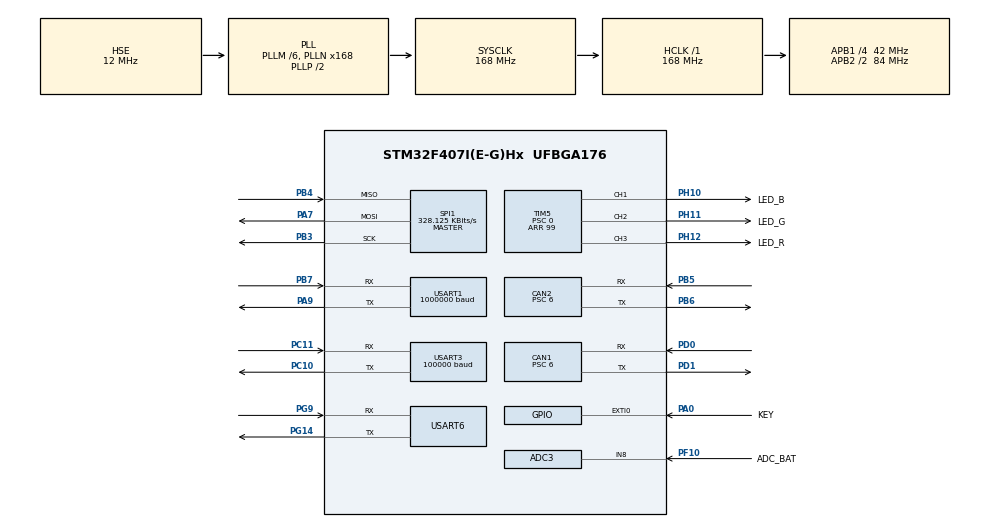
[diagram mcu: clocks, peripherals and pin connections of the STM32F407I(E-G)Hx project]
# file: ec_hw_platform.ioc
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ADC3.Channel-1\#ChannelRegularConversion=ADC_CHANNEL_8
ADC3.ExternalTrigConv=ADC_EXTERNALTRIGCONV_T3_TRGO
ADC3.NbrOfConversion=1
ADC3.NbrOfConversionFlag=1
ADC3.Rank-1\#ChannelRegularConversion=1
ADC3.SamplingTime-1\#ChannelRegularConversion=ADC_SAMPLETIME_28CYCLES
CAN1.ABOM=ENABLE
CAN1.BS1=CAN_BS1_5TQ
CAN1.CalculateBaudRate=1000000
CAN1.CalculateTimeBit=1000
CAN1.CalculateTimeQuantum=142.85714285714286
CAN1.Prescaler=6
CAN2.ABOM=ENABLE
CAN2.BS1=CAN_BS1_5TQ
CAN2.CalculateBaudRate=1000000
CAN2.CalculateTimeBit=1000
CAN2.CalculateTimeQuantum=142.85714285714286
CAN2.Prescaler=6
Dma.Request0=USART1_RX
Dma.Request1=USART1_TX
Dma.Request2=USART6_RX
Dma.Request3=USART6_TX
Dma.Request4=USART3_RX
Dma.USART1_RX.0.Direction=DMA_PERIPH_TO_MEMORY
Dma.USART1_RX.0.FIFOMode=DMA_FIFOMODE_DISABLE
Dma.USART1_RX.0.Instance=DMA2_Stream2
Dma.USART1_RX.0.MemDataAlignment=DMA_MDATAALIGN_BYTE
Dma.USART1_RX.0.MemInc=DMA_MINC_ENABLE
Dma.USART1_RX.0.Mode=DMA_NORMAL
Dma.USART1_RX.0.PeriphDataAlignment=DMA_PDATAALIGN_BYTE
Dma.USART1_RX.0.PeriphInc=DMA_PINC_DISABLE
Dma.USART1_RX.0.Priority=DMA_PRIORITY_LOW
Dma.USART1_TX.1.Direction=DMA_MEMORY_TO_PERIPH
Dma.USART1_TX.1.FIFOMode=DMA_FIFOMODE_DISABLE
Dma.USART1_TX.1.Instance=DMA2_Stream7
Dma.USART1_TX.1.MemDataAlignment=DMA_MDATAALIGN_BYTE
Dma.USART1_TX.1.MemInc=DMA_MINC_ENABLE
Dma.USART1_TX.1.Mode=DMA_NORMAL
Dma.USART1_TX.1.PeriphDataAlignment=DMA_PDATAALIGN_BYTE
Dma.USART1_TX.1.PeriphInc=DMA_PINC_DISABLE
Dma.USART1_TX.1.Priority=DMA_PRIORITY_LOW
Dma.USART3_RX.4.Direction=DMA_PERIPH_TO_MEMORY
Dma.USART3_RX.4.FIFOMode=DMA_FIFOMODE_DISABLE
Dma.USART3_RX.4.Instance=DMA1_Stream1
Dma.USART3_RX.4.MemDataAlignment=DMA_MDATAALIGN_BYTE
Dma.USART3_RX.4.MemInc=DMA_MINC_ENABLE
Dma.USART3_RX.4.Mode=DMA_NORMAL
Dma.USART3_RX.4.PeriphDataAlignment=DMA_PDATAALIGN_BYTE
Dma.USART3_RX.4.PeriphInc=DMA_PINC_DISABLE
Dma.USART3_RX.4.Priority=DMA_PRIORITY_VERY_HIGH
Dma.USART6_RX.2.Direction=DMA_PERIPH_TO_MEMORY
Dma.USART6_RX.2.FIFOMode=DMA_FIFOMODE_DISABLE
Dma.USART6_RX.2.Instance=DMA2_Stream1
Dma.USART6_RX.2.MemDataAlignment=DMA_MDATAALIGN_BYTE
Dma.USART6_RX.2.MemInc=DMA_MINC_ENABLE
Dma.USART6_RX.2.Mode=DMA_NORMAL
Dma.USART6_RX.2.PeriphDataAlignment=DMA_PDATAALIGN_BYTE
Dma.USART6_RX.2.PeriphInc=DMA_PINC_DISABLE
Dma.USART6_RX.2.Priority=DMA_PRIORITY_LOW
Dma.USART6_TX.3.Direction=DMA_MEMORY_TO_PERIPH
Dma.USART6_TX.3.FIFOMode=DMA_FIFOMODE_DISABLE
Dma.USART6_TX.3.Instance=DMA2_Stream6
Dma.USART6_TX.3.MemDataAlignment=DMA_MDATAALIGN_BYTE
Dma.USART6_TX.3.MemInc=DMA_MINC_ENABLE
Dma.USART6_TX.3.Mode=DMA_NORMAL
Dma.USART6_TX.3.PeriphDataAlignment=DMA_PDATAALIGN_BYTE
Dma.USART6_TX.3.PeriphInc=DMA_PINC_DISABLE
Dma.USART6_TX.3.Priority=DMA_PRIORITY_LOW
Mcu.Family=STM32F4
Mcu.Name=STM32F407I(E-G)Hx
Mcu.Package=UFBGA176
NVIC.ADC_IRQn=true\:0\:0\:false\:false\:true\:true\:true\:true
NVIC.CAN1_RX0_IRQn=true\:0\:0\:false\:false\:true\:true\:true\:true
NVIC.CAN1_RX1_IRQn=true\:0\:0\:false\:false\:true\:true\:true\:true
NVIC.CAN2_RX0_IRQn=true\:0\:0\:false\:false\:true\:true\:true\:true
NVIC.CAN2_RX1_IRQn=true\:0\:0\:false\:false\:true\:true\:true\:true
NVIC.DMA1_Stream1_IRQn=true\:0\:0\:false\:false\:true\:false\:true\:true
NVIC.DMA2_Stream1_IRQn=true\:0\:0\:false\:false\:true\:false\:true\:true
NVIC.DMA2_Stream2_IRQn=true\:0\:0\:false\:false\:true\:false\:true\:true
NVIC.DMA2_Stream6_IRQn=true\:0\:0\:false\:false\:true\:false\:true\:true
NVIC.DMA2_Stream7_IRQn=true\:0\:0\:false\:false\:true\:false\:true\:true
NVIC.EXTI0_IRQn=true\:0\:0\:false\:false\:true\:true\:true\:true
NVIC.PriorityGroup=NVIC_PRIORITYGROUP_4
NVIC.TIM6_DAC_IRQn=true\:0\:0\:false\:false\:true\:true\:true\:true
NVIC.TIM7_IRQn=true\:0\:0\:false\:false\:true\:true\:true\:true
PA0-WKUP.GPIO_Label=KEY
PA0-WKUP.GPIO_ModeDefaultEXTI=GPIO_MODE_IT_RISING_FALLING
PA0-WKUP.GPIO_PuPd=GPIO_PULLUP
PA0-WKUP.Signal=GPXTI0
PA13.Mode=Serial_Wire
PA13.Signal=SYS_JTMS-SWDIO
PA14.Mode=Serial_Wire
PA14.Signal=SYS_JTCK-SWCLK
PA7.Mode=Full_Duplex_Master
PA7.Signal=SPI1_MOSI
PA9.Mode=Asynchronous
PA9.Signal=USART1_TX
PB3.Mode=Full_Duplex_Master
PB3.Signal=SPI1_SCK
PB4.Mode=Full_Duplex_Master
PB4.Signal=SPI1_MISO
PB5.Mode=CAN_Activate
PB5.Signal=CAN2_RX
PB6.Mode=CAN_Activate
PB6.Signal=CAN2_TX
PB7.Mode=Asynchronous
PB7.Signal=USART1_RX
PC10.Mode=Asynchronous
PC10.Signal=USART3_TX
PC11.Mode=Asynchronous
PC11.Signal=USART3_RX
PC14-OSC32_IN.Mode=LSE-External-Oscillator
PC14-OSC32_IN.Signal=RCC_OSC32_IN
PC15-OSC32_OUT.Mode=LSE-External-Oscillator
PC15-OSC32_OUT.Signal=RCC_OSC32_OUT
PC8.Signal=S_TIM3_CH3
PD0.Mode=CAN_Activate
PD0.Signal=CAN1_RX
PD1.Mode=CAN_Activate
PD1.Signal=CAN1_TX
PF10.GPIO_Label=ADC_BAT
PF10.Mode=IN8
PF10.Signal=ADC3_IN8
PG14.Mode=Asynchronous
PG14.Signal=USART6_TX
PG9.Mode=Asynchronous
PG9.Signal=USART6_RX
PH0-OSC_IN.Mode=HSE-External-Oscillator
PH0-OSC_IN.Signal=RCC_OSC_IN
PH1-OSC_OUT.Mode=HSE-External-Oscillator
PH1-OSC_OUT.Signal=RCC_OSC_OUT
PH10.GPIO_Label=LED_B
PH10.GPIO_PuPd=GPIO_PULLUP
PH10.Signal=S_TIM5_CH1
PH11.GPIO_Label=LED_G
PH11.GPIO_PuPd=GPIO_PULLUP
PH11.Signal=S_TIM5_CH2
PH12.GPIO_Label=LED_R
PH12.GPIO_PuPd=GPIO_PULLUP
PH12.Signal=S_TIM5_CH3
ProjectManager.HeapSize=0x1000
ProjectManager.StackSize=0x2000
ProjectManager.TargetToolchain=MDK-ARM V5.32
RCC.48MHZClocksFreq_Value=84000000
RCC.AHBFreq_Value=168000000
RCC.APB1CLKDivider=RCC_HCLK_DIV4
RCC.APB1Freq_Value=42000000
RCC.APB1TimFreq_Value=84000000
RCC.APB2CLKDivider=RCC_HCLK_DIV2
RCC.APB2Freq_Value=84000000
RCC.APB2TimFreq_Value=168000000
RCC.CortexFreq_Value=168000000
RCC.HCLKFreq_Value=168000000
RCC.HSE_VALUE=12000000
RCC.HSI_VALUE=16000000
RCC.PLLM=6
RCC.PLLN=168
RCC.PLLSourceVirtual=RCC_PLLSOURCE_HSE
RCC.SYSCLKFreq_VALUE=168000000
RCC.SYSCLKSource=RCC_SYSCLKSOURCE_PLLCLK
RCC.VCOOutputFreq_Value=336000000
SH.S_TIM3_CH3.0=TIM3_CH3
SH.S_TIM5_CH1.0=TIM5_CH1,PWM Generation1 CH1
SH.S_TIM5_CH2.0=TIM5_CH2,PWM Generation2 CH2
SH.S_TIM5_CH3.0=TIM5_CH3,PWM Generation3 CH3
SPI1.BaudRatePrescaler=SPI_BAUDRATEPRESCALER_256
SPI1.CLKPhase=SPI_PHASE_2EDGE
SPI1.CLKPolarity=SPI_POLARITY_HIGH
SPI1.CalculateBaudRate=328.125 KBits/s
SPI1.Direction=SPI_DIRECTION_2LINES
SPI1.Mode=SPI_MODE_MASTER
SPI1.VirtualType=VM_MASTER
TIM3.AutoReloadPreload=TIM_AUTORELOAD_PRELOAD_ENABLE
TIM3.Period=11999
TIM3.Prescaler=7
TIM3.TIM_MasterOutputTrigger=TIM_TRGO_UPDATE
TIM4.AutoReloadPreload=TIM_AUTORELOAD_PRELOAD_ENABLE
TIM4.Period=9999
TIM4.Prescaler=29
TIM4.TIM_MasterOutputTrigger=TIM_TRGO_RESET
TIM5.AutoReloadPreload=TIM_AUTORELOAD_PRELOAD_ENABLE
TIM5.Channel-PWM\ Generation1\ CH1=TIM_CHANNEL_1
TIM5.Channel-PWM\ Generation2\ CH2=TIM_CHANNEL_2
TIM5.Channel-PWM\ Generation3\ CH3=TIM_CHANNEL_3
TIM5.Period=99
TIM5.Prescaler=0
TIM5.Pulse-PWM\ Generation1\ CH1=10
TIM5.Pulse-PWM\ Generation2\ CH2=10
TIM5.Pulse-PWM\ Generation3\ CH3=10
TIM6.Period=999
TIM6.Prescaler=83
TIM7.Period=999
TIM7.Prescaler=83
USART1.BaudRate=1000000
USART1.VirtualMode=VM_ASYNC
USART3.BaudRate=100000
USART3.Mode=MODE_TX_RX
USART3.VirtualMode=VM_ASYNC
USART6.VirtualMode=VM_ASYNC
VP_IWDG_VS_IWDG.Mode=IWDG_Activate
VP_TIM3_VS_ClockSourceINT.Mode=Internal
VP_TIM4_VS_ClockSourceINT.Mode=Internal
VP_TIM5_VS_ClockSourceINT.Mode=Internal
VP_TIM6_VS_ClockSourceINT.Mode=Enable_Timer
VP_TIM7_VS_ClockSourceINT.Mode=Enable_Timer
board=custom

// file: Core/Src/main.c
/* USER CODE BEGIN Header */
/**
  ******************************************************************************
  * @file           : main.c
  * @brief          : Main program body
  ******************************************************************************
  * @attention
  *
  * Copyright (c) 2023 STMicroelectronics.
  * All rights reserved.
  *
  * This software is licensed under terms that can be found in the LICENSE file
  * in the root directory of this software component.
  * If no LICENSE file comes with this software, it is provided AS-IS.
  *
  ******************************************************************************
  */
/* USER CODE END Header */
#include "main.h"
#include "adc.h"
#include "can.h"
#include "dma.h"
#include "iwdg.h"
#include "spi.h"
#include "tim.h"
#include "usart.h"
#include "gpio.h"

void SystemClock_Config(void);

int main(void)
{

  /* MCU Configuration--------------------------------------------------------*/

  /* Reset of all peripherals, Initializes the Flash interface and the Systick. */
  HAL_Init();

  /* Configure the system clock */
  SystemClock_Config();

  /* Initialize all configured peripherals */
  MX_GPIO_Init();
  MX_DMA_Init();
  MX_IWDG_Init();
  MX_TIM3_Init();
  MX_ADC3_Init();
  MX_TIM4_Init();
  MX_TIM5_Init();
  MX_TIM6_Init();
  MX_TIM7_Init();
  MX_CAN1_Init();
  MX_USART1_UART_Init();
  MX_USART6_UART_Init();
  MX_USART3_UART_Init();
  MX_CAN2_Init();
  MX_SPI1_Init();
  /* USER CODE BEGIN 2 */

  HAL_TIM_Base_Start_IT(&htim5);
  HAL_TIM_PWM_Start(&htim5,TIM_CHANNEL_1);
  HAL_TIM_PWM_Start(&htim5,TIM_CHANNEL_2);
  HAL_TIM_PWM_Start(&htim5,TIM_CHANNEL_3);

  HAL_ADC_Start_IT(&hadc3);

  //初始时自动亮绿灯
  LED_Show(0,0,30);

  /* USER CODE END 2 */

  /* Infinite loop */
  while (1)
  {

  }
}

void SystemClock_Config(void)
{
  RCC_OscInitTypeDef RCC_OscInitStruct = {0};
  RCC_ClkInitTypeDef RCC_ClkInitStruct = {0};

  /** Configure the main internal regulator output voltage
  */
  __HAL_RCC_PWR_CLK_ENABLE();
  __HAL_PWR_VOLTAGESCALING_CONFIG(PWR_REGULATOR_VOLTAGE_SCALE1);

  /** Initializes the RCC Oscillators according to the specified parameters
  * in the RCC_OscInitTypeDef structure.
  */
  RCC_OscInitStruct.OscillatorType = RCC_OSCILLATORTYPE_LSI|RCC_OSCILLATORTYPE_HSE;
  RCC_OscInitStruct.HSEState = RCC_HSE_ON;
  RCC_OscInitStruct.LSIState = RCC_LSI_ON;
  RCC_OscInitStruct.PLL.PLLState = RCC_PLL_ON;
  RCC_OscInitStruct.PLL.PLLSource = RCC_PLLSOURCE_HSE;
  RCC_OscInitStruct.PLL.PLLM = 6;
  RCC_OscInitStruct.PLL.PLLN = 168;
  RCC_OscInitStruct.PLL.PLLP = RCC_PLLP_DIV2;
  RCC_OscInitStruct.PLL.PLLQ = 4;
  if (HAL_RCC_OscConfig(&RCC_OscInitStruct) != HAL_OK)
  {
    Error_Handler();
  }

  /** Initializes the CPU, AHB and APB buses clocks
  */
  RCC_ClkInitStruct.ClockType = RCC_CLOCKTYPE_HCLK|RCC_CLOCKTYPE_SYSCLK
                              |RCC_CLOCKTYPE_PCLK1|RCC_CLOCKTYPE_PCLK2;
  RCC_ClkInitStruct.SYSCLKSource = RCC_SYSCLKSOURCE_PLLCLK;
  RCC_ClkInitStruct.AHBCLKDivider = RCC_SYSCLK_DIV1;
  RCC_ClkInitStruct.APB1CLKDivider = RCC_HCLK_DIV4;
  RCC_ClkInitStruct.APB2CLKDivider = RCC_HCLK_DIV2;

  if (HAL_RCC_ClockConfig(&RCC_ClkInitStruct, FLASH_LATENCY_5) != HAL_OK)
  {
    Error_Handler();
  }
}

/* USER CODE BEGIN 4 */
/**
 * @brief LED处理函数(使用PWM)  LED Control using PWM
 */
void LED_RGBa_Show(uint32_t aRGB){
    uint32_t alpha;
    uint32_t red, blue, green;

    alpha = ((aRGB & 0xFF000000) >> 24);
    red = ((aRGB & 0x00FF0000) >> 16) * alpha;
    blue = ((aRGB & 0x0000FF00) >> 8) * alpha;
    green = ((aRGB & 0x000000FF) >> 0) * alpha;

    __HAL_TIM_SET_COMPARE(&htim5,TIM_CHANNEL_1,blue);
    __HAL_TIM_SET_COMPARE(&htim5,TIM_CHANNEL_2,green);
    __HAL_TIM_SET_COMPARE(&htim5,TIM_CHANNEL_3,red);
}

void LED_Show(uint8_t red, uint8_t blue, uint8_t green){
    //四个参数范围0-255
    __HAL_TIM_SET_COMPARE(&htim5,TIM_CHANNEL_1,blue);
    __HAL_TIM_SET_COMPARE(&htim5,TIM_CHANNEL_2,green);
    __HAL_TIM_SET_COMPARE(&htim5,TIM_CHANNEL_3,red);
}

//函数若在主循环中使用，加Dealy会导致其失效
void LED_Breath(uint8_t red, uint8_t blue, uint8_t green){
    while(red>0){
        LED_Show(red, blue, green);
        HAL_Delay(1);
        --red;
        ++blue;
    }
    while(blue>0){
        LED_Show(red, blue, green);
        HAL_Delay(1);
        --blue;
        ++green;
    }
    while(green>0){
        LED_Show(red, blue, green);
        HAL_Delay(1);
        --green;
        ++red;
    }
}

/**
 * @brief functions handle KEY callback
 */
void HAL_GPIO_EXTI_Callback(uint16_t GPIO_Pin){
    LED_Show(99,99,0);
}
//未明白的地方：为什么回调函数结束之后设置的比较寄存器会还原？

/* USER CODE END 4 */

void Error_Handler(void)
{
  /* USER CODE BEGIN Error_Handler_Debug */
  /* User can add his own implementation to report the HAL error return state */
  __disable_irq();
  while (1)
  {
      LED_Show(99,99,0);
  }
  /* USER CODE END Error_Handler_Debug */
}
